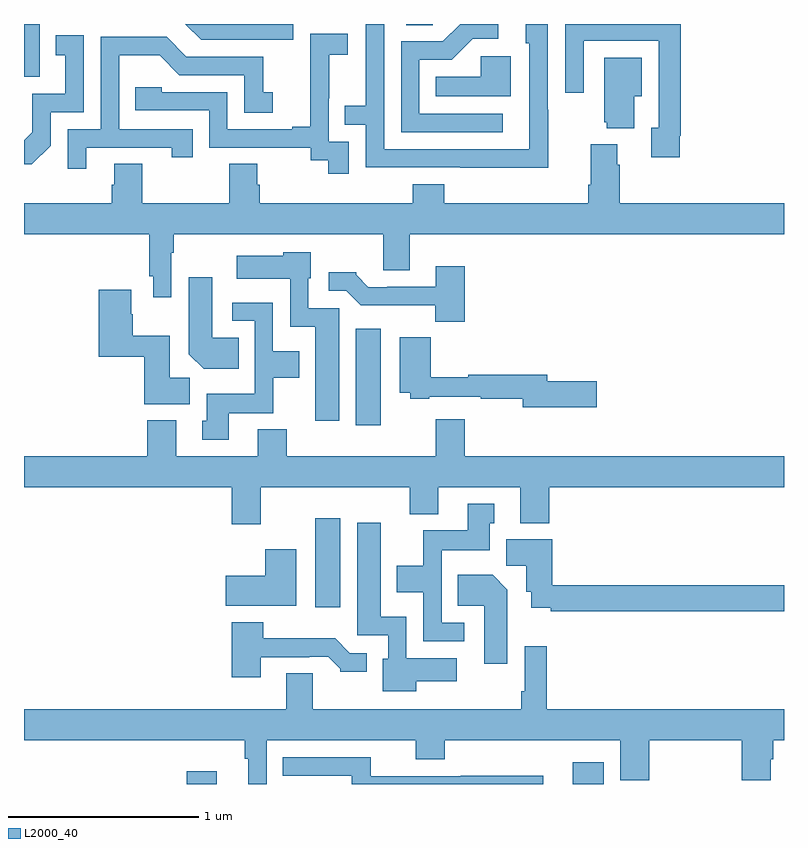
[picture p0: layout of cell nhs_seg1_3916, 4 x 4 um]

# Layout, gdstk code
import gdstk
lib = gdstk.Library(unit=1e-6, precision=1e-09)
def R(c, l, rs):  # rectangles x0, y0, x1, y1
    for r in rs: c.add(gdstk.rectangle(r[:2], r[2:], *l))
def P(c, l, *ps):  # polygons
    for p in ps: c.add(gdstk.Polygon(p, *l))
L2000_40 = (2000, 40)

nhs_seg1_3916 = lib.new_cell('nhs_seg1_3916')
R(nhs_seg1_3916, L2000_40, [(325.856,522.199,326.014,522.265), (327.889,522.199,328.05,522.313), (326.534,523.128,326.665,523.597), (326.747,524.088,326.878,524.596), (325,525.921,325.083,526.199), (327.011,526.192,327.15,526.199)])
P(nhs_seg1_3916, L2000_40, [(327.759,525.749),(327.756,525.749),(327.756,526.199),(327.641,526.199),(327.641,526.098),(327.66,526.098),(327.66,525.794),(327.659,525.794),(327.659,525.54),(326.895,525.54),(326.895,526.199),(326.799,526.199),(326.799,525.77),(326.689,525.77),(326.689,525.669),(326.799,525.669),(326.799,525.444),(327.295,525.444),(327.295,525.443),(327.759,525.443)],
  [(326.418,526.199),(325.849,526.199),(325.932,526.116),(326.418,526.116)],
  [(328.45,525.61),(328.457,525.61),(328.457,526.199),(327.849,526.199),(327.849,525.837),(327.945,525.837),(327.945,526.11),(328.341,526.11),(328.341,525.654),(328.301,525.654),(328.301,525.498),(328.45,525.498)],
  [(327.52,525.726),(327.081,525.726),(327.081,526.011),(327.25,526.011),(327.361,526.122),(327.496,526.122),(327.496,526.199),(327.296,526.199),(327.204,526.107),(326.985,526.107),(326.985,525.63),(327.52,525.63)],
  [(326.709,525.579),(326.604,525.579),(326.604,525.809),(326.606,525.809),(326.606,526.037),(326.704,526.037),(326.704,526.147),(326.506,526.147),(326.506,525.941),(326.507,525.941),(326.507,525.658),(326.411,525.658),(326.411,525.645),(326.07,525.645),(326.07,525.84),(325.725,525.84),(325.725,525.867),(325.585,525.867),(325.585,525.744),(325.974,525.744),(325.974,525.549),(326.508,525.549),(326.508,525.481),(326.601,525.481),(326.601,525.411),(326.709,525.411)],
  [(325.14,525.558),(325.14,525.735),(325.314,525.735),(325.314,526.141),(325.168,526.141),(325.168,526.035),(325.217,526.035),(325.217,525.831),(325.044,525.831),(325.044,525.63),(325,525.586),(325,525.461),(325.042,525.461)],
  [(325.327,525.549),(325.778,525.549),(325.778,525.498),(325.889,525.498),(325.889,525.645),(325.5,525.645),(325.5,526.034),(325.714,526.034),(325.818,525.93),(326.16,525.93),(326.16,525.732),(326.308,525.732),(326.308,525.841),(326.259,525.841),(326.259,526.026),(325.855,526.026),(325.75,526.131),(325.404,526.131),(325.404,525.645),(325.23,525.645),(325.23,525.438),(325.327,525.438)],
  [(327.562,526.03),(327.405,526.03),(327.405,525.922),(327.166,525.922),(327.166,525.818),(327.562,525.818)],
  [(328.213,525.818),(328.252,525.818),(328.252,526.021),(328.055,526.021),(328.055,525.681),(328.067,525.681),(328.067,525.65),(328.213,525.65)],
  [(325.66,524.872),(325.68,524.872),(325.68,524.76),(325.776,524.76),(325.776,524.996),(325.789,524.996),(325.789,525.092),(326.891,525.092),(326.891,524.902),(327.031,524.902),(327.031,525.092),(329,525.092),(329,525.256),(328.136,525.256),(328.136,525.458),(328.123,525.458),(328.123,525.565),(327.983,525.565),(327.983,525.352),(327.971,525.352),(327.971,525.256),(327.212,525.256),(327.212,525.355),(327.047,525.355),(327.047,525.256),(326.24,525.256),(326.24,525.354),(326.227,525.354),(326.227,525.464),(326.08,525.464),(326.08,525.256),(325.623,525.256),(325.623,525.464),(325.475,525.464),(325.475,525.354),(325.463,525.354),(325.463,525.256),(325,525.256),(325,525.092),(325.66,525.092)],
  [(326.659,524.703),(326.496,524.703),(326.496,524.862),(326.509,524.862),(326.509,524.998),(326.364,524.998),(326.364,524.98),(326.121,524.98),(326.121,524.858),(326.4,524.858),(326.4,524.606),(326.534,524.606),(326.534,524.112),(326.659,524.112)],
  [(327.32,524.923),(327.167,524.923),(327.167,524.817),(326.911,524.817),(326.911,524.814),(326.812,524.814),(326.748,524.878),(326.748,524.893),(326.604,524.893),(326.604,524.796),(326.697,524.796),(326.773,524.72),(327.165,524.72),(327.165,524.633),(327.32,524.633)],
  [(326.129,524.548),(325.99,524.548),(325.99,524.866),(325.868,524.866),(325.868,524.462),(325.946,524.384),(326.129,524.384)],
  [(325.873,524.336),(325.768,524.336),(325.768,524.557),(325.572,524.557),(325.572,524.672),(325.564,524.672),(325.564,524.8),(325.394,524.8),(325.394,524.447),(325.634,524.447),(325.634,524.198),(325.873,524.198)],
  [(326.077,524.15),(326.313,524.15),(326.313,524.336),(326.449,524.336),(326.449,524.476),(326.31,524.476),(326.31,524.733),(326.097,524.733),(326.097,524.637),(326.214,524.637),(326.214,524.254),(325.961,524.254),(325.961,524.112),(325.937,524.112),(325.937,524.01),(326.077,524.01)],
  [(328.015,524.318),(327.754,524.318),(327.754,524.354),(327.338,524.354),(327.338,524.339),(327.14,524.339),(327.14,524.551),(326.978,524.551),(326.978,524.258),(327.033,524.258),(327.033,524.226),(327.133,524.226),(327.133,524.238),(327.403,524.238),(327.403,524.226),(327.626,524.226),(327.626,524.183),(328.015,524.183)],
  [(326.245,523.76),(327.029,523.76),(327.029,523.619),(327.181,523.619),(327.181,523.76),(327.611,523.76),(327.611,523.571),(327.764,523.571),(327.764,523.76),(329,523.76),(329,523.924),(327.32,523.924),(327.32,524.119),(327.167,524.119),(327.167,523.924),(326.384,523.924),(326.384,524.065),(326.231,524.065),(326.231,523.924),(325.801,523.924),(325.801,524.113),(325.649,524.113),(325.649,523.924),(325,523.924),(325,523.76),(326.093,523.76),(326.093,523.566),(326.245,523.566)],
  [(327.316,523.047),(327.198,523.047),(327.198,523.43),(327.451,523.43),(327.451,523.572),(327.475,523.572),(327.475,523.675),(327.335,523.675),(327.335,523.534),(327.1,523.534),(327.1,523.348),(326.963,523.348),(326.963,523.208),(327.102,523.208),(327.102,522.951),(327.316,522.951)],
  [(327.065,522.74),(327.277,522.74),(327.277,522.862),(327.012,522.862),(327.012,523.078),(326.878,523.078),(326.878,523.573),(326.753,523.573),(326.753,522.981),(326.916,522.981),(326.916,522.858),(326.888,522.858),(326.888,522.686),(327.065,522.686)],
  [(329,523.244),(327.779,523.244),(327.779,523.486),(327.539,523.486),(327.539,523.348),(327.644,523.348),(327.644,523.212),(327.669,523.212),(327.669,523.127),(327.772,523.127),(327.772,523.108),(329,523.108)],
  [(326.434,523.435),(326.27,523.435),(326.27,523.294),(326.061,523.294),(326.061,523.136),(326.434,523.136)],
  [(327.544,523.222),(327.466,523.3),(327.283,523.3),(327.283,523.136),(327.422,523.136),(327.422,522.831),(327.544,522.831)],
  [(326.245,522.867),(326.501,522.867),(326.501,522.87),(326.6,522.87),(326.664,522.806),(326.664,522.791),(326.803,522.791),(326.803,522.888),(326.715,522.888),(326.637,522.967),(326.258,522.967),(326.258,523.051),(326.093,523.051),(326.093,522.762),(326.245,522.762)],
  [(326.277,522.428),(327.062,522.428),(327.062,522.329),(327.215,522.329),(327.215,522.428),(328.139,522.428),(328.139,522.22),(328.292,522.22),(328.292,522.428),(328.778,522.428),(328.778,522.22),(328.93,522.22),(328.93,522.33),(328.943,522.33),(328.943,522.428),(329,522.428),(329,522.592),(327.752,522.592),(327.752,522.925),(327.636,522.925),(327.636,522.688),(327.616,522.688),(327.616,522.592),(326.521,522.592),(326.521,522.782),(326.381,522.782),(326.381,522.592),(325,522.592),(325,522.428),(326.161,522.428),(326.161,522.332),(326.18,522.332),(326.18,522.199),(326.277,522.199)],
  [(327.732,522.242),(327.298,522.242),(327.298,522.24),(326.826,522.24),(326.826,522.339),(326.362,522.339),(326.362,522.243),(326.726,522.243),(326.726,522.199),(327.732,522.199)])

lib.write_gds('nhs_seg1_3916.gds')
